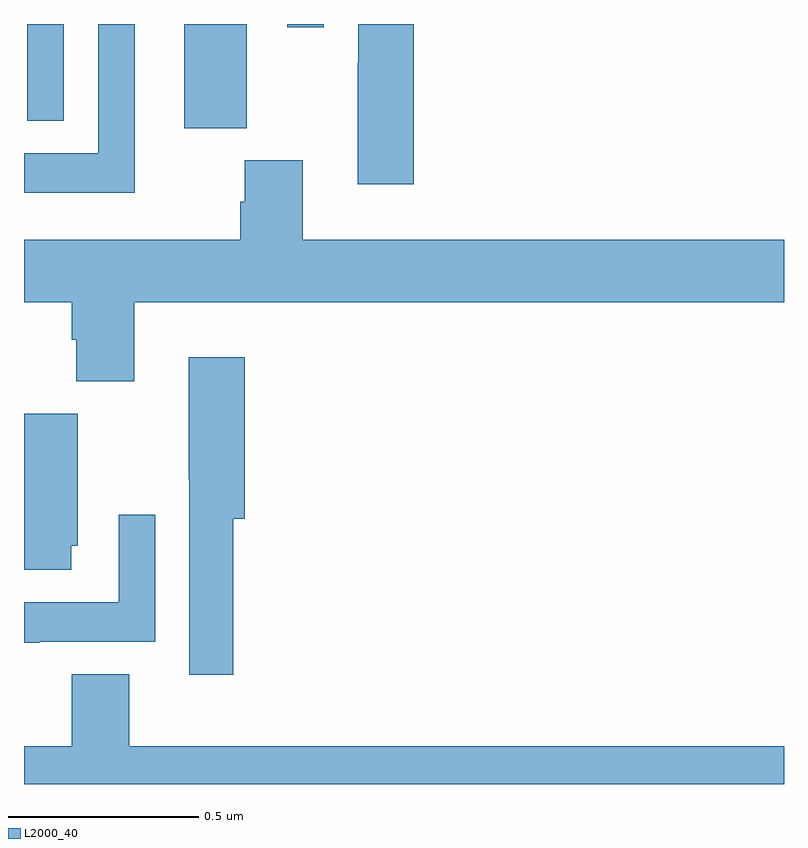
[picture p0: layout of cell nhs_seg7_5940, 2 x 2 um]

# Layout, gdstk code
import gdstk
lib = gdstk.Library(unit=1e-6, precision=1e-09)
def R(c, l, rs):  # rectangles x0, y0, x1, y1
    for r in rs: c.add(gdstk.rectangle(r[:2], r[2:], *l))
def P(c, l, *ps):  # polygons
    for p in ps: c.add(gdstk.Polygon(p, *l))
L2000_40 = (2000, 40)

nhs_seg7_5940 = lib.new_cell('nhs_seg7_5940')
R(nhs_seg7_5940, L2000_40, [(192.422,1015.726,192.586,1016), (192.009,1015.745,192.105,1016), (192.693,1015.992,192.789,1016)])
P(nhs_seg7_5940, L2000_40, [(192.292,1016),(192.195,1016),(192.195,1015.66),(192,1015.66),(192,1015.556),(192.292,1015.556)],
  [(193.025,1016),(192.879,1016),(192.879,1015.898),(192.878,1015.898),(192.878,1015.578),(193.025,1015.578)],
  [(192.29,1015.268),(194,1015.268),(194,1015.432),(192.734,1015.432),(192.734,1015.641),(192.581,1015.641),(192.581,1015.532),(192.569,1015.532),(192.569,1015.432),(192,1015.432),(192,1015.268),(192.125,1015.268),(192.125,1015.169),(192.137,1015.169),(192.137,1015.06),(192.29,1015.06)],
  [(192.551,1014.698),(192.581,1014.698),(192.581,1015.123),(192.434,1015.123),(192.434,1014.802),(192.435,1014.802),(192.435,1014.288),(192.551,1014.288)],
  [(192.124,1014.627),(192.142,1014.627),(192.142,1014.975),(192,1014.975),(192,1014.564),(192.124,1014.564)],
  [(192.041,1014.374),(192.345,1014.374),(192.345,1014.709),(192.249,1014.709),(192.249,1014.478),(192,1014.478),(192,1014.372),(192.041,1014.372)],
  [(192.277,1014.289),(192.125,1014.289),(192.125,1014.1),(192,1014.1),(192,1014),(194,1014),(194,1014.1),(192.277,1014.1)])

lib.write_gds('nhs_seg7_5940.gds')
